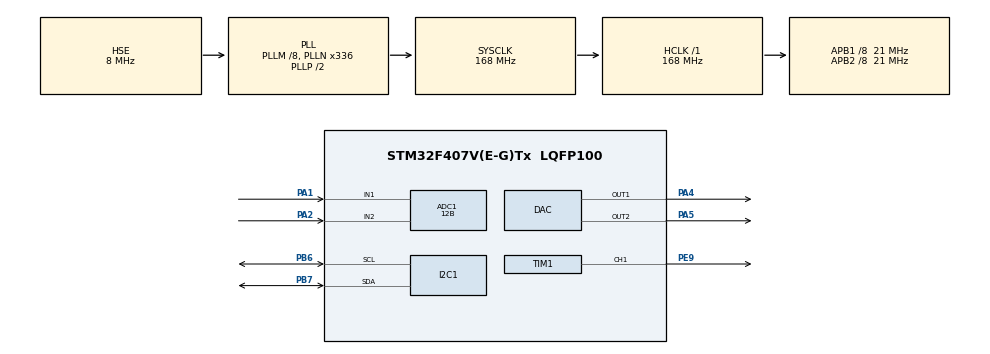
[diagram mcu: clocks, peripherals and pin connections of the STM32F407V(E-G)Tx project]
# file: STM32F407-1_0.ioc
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ADC1.Channel-0\#ChannelRegularConversion=ADC_CHANNEL_1
ADC1.Channel-1\#ChannelInjectedConversion=ADC_CHANNEL_2
ADC1.ClockPrescaler=ADC_CLOCK_SYNC_PCLK_DIV6
ADC1.ContinuousConvMode=ENABLE
ADC1.DMAContinuousRequests=DISABLE
ADC1.DataAlign=ADC_DATAALIGN_RIGHT
ADC1.DiscontinuousConvMode=DISABLE
ADC1.EOCSelection=ADC_EOC_SEQ_CONV
ADC1.EnableAnalogWatchDog=false
ADC1.ExternalTrigConv=ADC_SOFTWARE_START
ADC1.ExternalTrigConvEdge=ADC_EXTERNALTRIGCONVEDGE_NONE
ADC1.InjNumberOfConversion=1
ADC1.InjectedConvMode=AutoInjected
ADC1.InjectedOffset-1\#ChannelInjectedConversion=0
ADC1.NbrOfConversion=1
ADC1.NbrOfConversionFlag=1
ADC1.Rank-0\#ChannelRegularConversion=1
ADC1.Rank-1\#ChannelInjectedConversion=1
ADC1.Resolution=ADC_RESOLUTION_12B
ADC1.SamplingTime-0\#ChannelRegularConversion=ADC_SAMPLETIME_480CYCLES
ADC1.SamplingTime-1\#ChannelInjectedConversion=ADC_SAMPLETIME_480CYCLES
ADC1.ScanConvMode=ENABLE
ADC1.master=1
Mcu.Family=STM32F4
Mcu.Name=STM32F407V(E-G)Tx
Mcu.Package=LQFP100
NVIC.PriorityGroup=NVIC_PRIORITYGROUP_4
NVIC.TIM2_IRQn=true\:0\:0\:false\:false\:true\:true
NVIC.TIM3_IRQn=true\:0\:0\:false\:false\:true\:true
PA1.Signal=ADCx_IN1
PA2.Signal=ADCx_IN2
PA4.Signal=COMP_DAC1_group
PA5.Signal=COMP_DAC2_group
PB6.Mode=I2C
PB6.Signal=I2C1_SCL
PB7.Mode=I2C
PB7.Signal=I2C1_SDA
PE9.Signal=S_TIM1_CH1
PH0-OSC_IN.Mode=HSE-External-Oscillator
PH0-OSC_IN.Signal=RCC_OSC_IN
PH1-OSC_OUT.Mode=HSE-External-Oscillator
PH1-OSC_OUT.Signal=RCC_OSC_OUT
ProjectManager.HeapSize=0x200
ProjectManager.StackSize=0x400
ProjectManager.TargetToolchain=MDK-ARM V5
RCC.48MHZClocksFreq_Value=84000000
RCC.AHBFreq_Value=168000000
RCC.APB1CLKDivider=RCC_HCLK_DIV8
RCC.APB1Freq_Value=21000000
RCC.APB1TimFreq_Value=42000000
RCC.APB2CLKDivider=RCC_HCLK_DIV8
RCC.APB2Freq_Value=21000000
RCC.APB2TimFreq_Value=42000000
RCC.CortexFreq_Value=168000000
RCC.HCLKFreq_Value=168000000
RCC.HSE_VALUE=8000000
RCC.HSI_VALUE=16000000
RCC.LSE_VALUE=32768
RCC.PLLM=8
RCC.PLLN=336
RCC.PLLSourceVirtual=RCC_PLLSOURCE_HSE
RCC.SYSCLKFreq_VALUE=168000000
RCC.SYSCLKSource=RCC_SYSCLKSOURCE_PLLCLK
RCC.VCOOutputFreq_Value=336000000
SH.ADCx_IN1.0=ADC1_IN1,IN1
SH.ADCx_IN2.0=ADC1_IN2,IN2
SH.COMP_DAC1_group.0=DAC_OUT1,DAC_OUT1
SH.COMP_DAC2_group.0=DAC_OUT2,DAC_OUT2
SH.S_TIM1_CH1.0=TIM1_CH1,PWM Generation1 CH1
TIM1.Channel-PWM\ Generation1\ CH1=TIM_CHANNEL_1
TIM1.Period=0x2FFF
TIM1.Prescaler=0xF
TIM2.Period=0xFFFF
TIM2.Prescaler=250
TIM3.Period=0xFFFF
TIM3.Prescaler=0x4FF
VP_TIM2_VS_ClockSourceINT.Mode=Internal
VP_TIM3_VS_ClockSourceINT.Mode=Internal
board=custom

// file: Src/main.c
/**
  ******************************************************************************
  * @file           : main.c
  * @brief          : Main program body
  ******************************************************************************
  ** This notice applies to any and all portions of this file
  * that are not between comment pairs USER CODE BEGIN and
  * USER CODE END. Other portions of this file, whether
  * inserted by the user or by software development tools
  * are owned by their respective copyright owners.
  *
  * COPYRIGHT(c) 2018 STMicroelectronics
  *
  * Redistribution and use in source and binary forms, with or without modification,
  * are permitted provided that the following conditions are met:
  *   1. Redistributions of source code must retain the above copyright notice,
  *      this list of conditions and the following disclaimer.
  *   2. Redistributions in binary form must reproduce the above copyright notice,
  *      this list of conditions and the following disclaimer in the documentation
  *      and/or other materials provided with the distribution.
  *   3. Neither the name of STMicroelectronics nor the names of its contributors
  *      may be used to endorse or promote products derived from this software
  *      without specific prior written permission.
  *
  * THIS SOFTWARE IS PROVIDED BY THE COPYRIGHT HOLDERS AND CONTRIBUTORS "AS IS"
  * AND ANY EXPRESS OR IMPLIED WARRANTIES, INCLUDING, BUT NOT LIMITED TO, THE
  * IMPLIED WARRANTIES OF MERCHANTABILITY AND FITNESS FOR A PARTICULAR PURPOSE ARE
  * DISCLAIMED. IN NO EVENT SHALL THE COPYRIGHT HOLDER OR CONTRIBUTORS BE LIABLE
  * FOR ANY DIRECT, INDIRECT, INCIDENTAL, SPECIAL, EXEMPLARY, OR CONSEQUENTIAL
  * DAMAGES (INCLUDING, BUT NOT LIMITED TO, PROCUREMENT OF SUBSTITUTE GOODS OR
  * SERVICES; LOSS OF USE, DATA, OR PROFITS; OR BUSINESS INTERRUPTION) HOWEVER
  * CAUSED AND ON ANY THEORY OF LIABILITY, WHETHER IN CONTRACT, STRICT LIABILITY,
  * OR TORT (INCLUDING NEGLIGENCE OR OTHERWISE) ARISING IN ANY WAY OUT OF THE USE
  * OF THIS SOFTWARE, EVEN IF ADVISED OF THE POSSIBILITY OF SUCH DAMAGE.
  *
  ******************************************************************************
  */
#include "main.h"
#include "stm32f4xx_hal.h"
//#include "stm32f4xx_hal_iwdg.h"
#include "MPU6050.h"
#include "math.h"

//IWDG_HandleTypeDef hiwdg;
ADC_HandleTypeDef hadc1;

DAC_HandleTypeDef hdac;

I2C_HandleTypeDef hi2c1;

TIM_HandleTypeDef htim1;
TIM_HandleTypeDef htim2;
TIM_HandleTypeDef htim3;

/* USER CODE BEGIN PV */
/* Private variables ---------------------------------------------------------*/

/* USER CODE END PV */

void SystemClock_Config(void);
static void MX_GPIO_Init(void);
static void MX_ADC1_Init(void);
static void MX_DAC_Init(void);
static void MX_I2C1_Init(void);
static void MX_TIM1_Init(void);
static void MX_TIM3_Init(void);
static void MX_TIM2_Init(void);
//static void MX_IWDG_Init(void);
void HAL_TIM_MspPostInit(TIM_HandleTypeDef *htim);

/* USER CODE BEGIN PFP */
/* Private function prototypes -----------------------------------------------*/

/* USER CODE END PFP */

/* USER CODE BEGIN 0 */
/*
Constants
*/
#define M_PI	3.16159265358979323846
#define T_SEC	122880000
#define SCS_SignalPeriod 0x2FF

#define SCS_BaseVoltage	0x935//0x9FC // V = 2.06
#define SCS_InitialVoltage	0xD00//0xCEE//((0xcc5)0xC1E) // V = 2.66
#define SCS_UpperlVoltage	0xFFF // V = 3.27
#define SCS_VoltageRange	0x5DD // V = 1.21
#define SCS_VoltageAmplitude	0x2F4 // V = 0.60

/*
Controls
*/
#define SCS_Sensor_isEnable	0x1
#define SCS_Joystick_isEnable	0x2
#define SCS_Settings_isEnable	0x3
#define SCS_DisableAll	0x4

/*
Sensitivity
*/
#define SCS_MaximumAngleSensitivity_Low	40
#define SCS_MaximumAngleSensitivity_Normal	30
#define SCS_MaximumAngleSensitivity_Hight	20

#define SCS_SaveAngleSensitivity	5

/*
Sensitivity settings
*/
#define SCS_GyroscopeValueForSensitivityStep_Y	30

/*
Interrupt
*/
#define SCS_AccelerometerLimit	1.2
#define SCS_ADCVoltageDelta	0.3 //0.3

struct GyroscopeValueXYZ
{
	float xGValue;
	float yGValue;
	float zGValue;
};

struct AngleOfRotationXYZAxis
{
	float xAngle;
	float yAngle;
	float zAngle;
};

struct AngleOfRotationXYZAxis xyzStartAngles = {0,0,0};
int maximumAngleSensitivity = 30;
int controlFlag = SCS_Sensor_isEnable;

/*
	Управление с помощью датчика
*/
void sensorControl();
/*
	Получение угла наклона датчика
	@bref вторичный катет - проекция на ось, угол между которой и вектором ускрения(g) является искомым;
				первичные катеты - проекции на остальные две оси.
	@param secondaryCatheter вторичный катет, который учавствует в поиске угла наклона межд
	@param primaryCatheter_1 первичный катет, который учавствует в поиске гипотенузы,
													 которая является вторичним катетом в последующем поиске угла наклона
	@param primaryCatheter_2 первичный катет, который учавствует в поиске гипотенузы,
													 которая является вторичним катетом в последующем поиске угла наклона
	@return угол наклона
*/
float angleFromProjections(float secondaryCatheter, float primaryCatheter_1, float primaryCatheter_2);
/*
	Получить текущие углы наклона датика с начальным смещением
	@return AngleOfRotationXYZAxis текущие углы наклона с начальным смещением
*/
struct AngleOfRotationXYZAxis obtainCurrentAngleOfRotationWithStartAngle();
/*
	Передача сигнала через ЦАП для движения в сторону
	@param dacValue значение для вывода
*/
void sidewaysDACWithDACValue(int dacValue);
/*
	Передача сигнала через ЦАП для движения прямо
	@param dacValue значение для вывода
*/
void straightDACWithDACValue(int dacValue);
/*
	Передача данных в ЦАП для движение вперед
	@param currentAngel текущий угол в градусах
*/
void straightMotionDACWithCurrentAngel(float currentAngel);
/*
	Передача данных в ЦАП для движение в сторону
	@param currentAngel текущий угол в градусах
*/
void sidewaysMotionDACWithCurrentAngel(float currentAngel);
/*
	Конвертация градусов текущего угла в даные для ЦАП
	@param currentAngel текущий угол в градусах
	@return значение для ЦАП, нормированное на полную шкалу ЦАП 3,3В (0xFFF)
*/
int convertAngelToDACValue(float currentAngel);
/*
	Получить текущие углы наклона датика
	@return AngleOfRotationXYZAxis текущие углы наклона
*/
struct AngleOfRotationXYZAxis obtainCurrentAngleOfRotation();
/*
	Получить углы начального смещения датика
	@return AngleOfRotationXYZAxis начальные углы наклона
*/
struct AngleOfRotationXYZAxis createStartAngleOfRotation();
/*
	Получить текущие значение напряжения в вольтах с джойстика для движения вперед
	@return текущие напряжение в вольтах
*/
float straightMotionVoltageADC();
/*
	Получить текущие значение напряжения в вольтах с джойстика для движения в сторону
	@return текущие напряжение в вольтах
*/
float sidewaysMotionVoltageADC();

/*
	Запустить таймер
*/
void startTimer();
/*
	Остановить таймер
*/
void stopTimer();
/*
	Поизвести звуковые сигналы заданное количество раз
	@param numberOfSignals заданное количество сигналов
*/
void signalsWithNumberOfSignals(int numberOfSignals);
/*
	Осуществляет синхронную задержку
*/
void synchronousDelay();
/*
	Вывод звкука
	@param signalPeriod период сигнала
*/
void speakerWithSignalPeriod(float signalPeriod);
/*
	Получить текущие проекции ускорения(a) на оси
	@return GyroscopeValueXYZ текущие проекции ускорения(a)
*/
struct GyroscopeValueXYZ obtainCurrentGyroscopeValue();
/*
	Конвертация градусов текущего угла в период сигнала для динамика
	@param currentAngel текущий угол в градусах
	@return период сигнала
*/
float convertCurrentXAngelToSignalPeriod(float currentXAngel);
/*
Управление с помощью джойстика
*/
void joystickControl();
/*
	Настройки чувствительности датчика
*/
void sensitivitySetting();
/*
	Отслеижвание выхода текущего значения угла за допустимые границы
	@param currentAngel_X текущее значение угла
	@param currentAngel_Y текущее значение угла
*/
void emergencyTrackingWithCurrentAngels(float currentAngel_X, float currentAngel_Z);

float (*straightMotionVoltageADCPointer)() = &straightMotionVoltageADC;
float (*sidewaysMotionVoltageADCPointer)() = &sidewaysMotionVoltageADC;

void (*signalsWithNumberOfSignalsPointer)(int) = signalsWithNumberOfSignals;

#define mpu9265Address	MPU6050_DEFAULT_ADDRESS
/* USER CODE END 0 */

int main(void)
{

  /* MCU Configuration----------------------------------------------------------*/

  /* Reset of all peripherals, Initializes the Flash interface and the Systick. */
  HAL_Init();

  /* Configure the system clock */
  SystemClock_Config();

  /* Initialize all configured peripherals */
  MX_GPIO_Init();
  MX_ADC1_Init();
  MX_DAC_Init();
  MX_I2C1_Init();
  MX_TIM1_Init();
  MX_TIM3_Init();
  MX_TIM2_Init();
//	MX_IWDG_Init();
  /* USER CODE BEGIN 2 */

//	for(uint8_t i=0; i<255; i++)
//	{
//		if(HAL_I2C_IsDeviceReady(&hi2c1, i, 1, 10) != HAL_OK)
//		{
//			HAL_GPIO_TogglePin(GPIOB, GPIO_PIN_6);
//			break;
//		}
//	}
	while (HAL_I2C_IsDeviceReady(&hi2c1, mpu9265Address, 5, 10) != HAL_OK) __asm__ ("NOP");
	Initialize();
	xyzStartAngles = createStartAngleOfRotation();
	HAL_ADC_Start(&hadc1);
	HAL_DAC_Start(&hdac,DAC_CHANNEL_1);
	HAL_DAC_Start(&hdac,DAC_CHANNEL_2);
//	HAL_TIM_Base_Start_IT(&htim2);
//	HAL_TIM_Base_Start_IT(&htim3);
  /* USER CODE END 2 */

  /* Infinite loop */
  /* USER CODE BEGIN WHILE */
	while((2 > straightMotionVoltageADC())
				|| (2 > sidewaysMotionVoltageADC())){}
	for (int i = 0; i < 100000; i++){}
	straightDACWithDACValue(hadc1.Instance->DR);
	sidewaysDACWithDACValue(hadc1.Instance->JDR1);
//	straightDACWithDACValue(SCS_InitialVoltage);
//	sidewaysDACWithDACValue(SCS_InitialVoltage);

//	for (int i = 0; i < 100000; i++){}
//	for (int i = 0; i < 100000; i++){}
	HAL_Delay(2000);
	xyzStartAngles = createStartAngleOfRotation();
	HAL_TIM_Base_Start_IT(&htim2);
	signalsWithNumberOfSignals(1);
  while (1)
  {
//		HAL_IWDG_Refresh(&hiwdg);
		if (SCS_Joystick_isEnable == controlFlag)
		{
//			synchronousDelay();
			signalsWithNumberOfSignals(2);
//			HAL_TIM_Base_Sta_IT(&htim2);
			HAL_TIM_Base_Stop_IT(&htim2);
			joystickControl();
		}
		if (SCS_Sensor_isEnable == controlFlag)
		{
//			synchronousDelay();
			HAL_TIM_Base_Start_IT(&htim2);
			signalsWithNumberOfSignals(3);
			sensorControl();
		}
		if (SCS_DisableAll == controlFlag)
		{
			straightDACWithDACValue(SCS_InitialVoltage);
			sidewaysDACWithDACValue(SCS_InitialVoltage);
			startTimer();
			speakerWithSignalPeriod(SCS_SignalPeriod);
			while (SCS_DisableAll == controlFlag);
		}
  /* USER CODE END WHILE */

  }

}

void joystickControl()
{
	while(SCS_Joystick_isEnable == controlFlag)
	{
//		HAL_IWDG_Refresh(&hiwdg);
		if (obtainCurrentGyroscopeValue().yGValue > SCS_AccelerometerLimit)
		{
			controlFlag = SCS_Sensor_isEnable;
		}
		straightDACWithDACValue(hadc1.Instance->DR);
		sidewaysDACWithDACValue(hadc1.Instance->JDR1);
	}
}

void sensorControl()
{
	struct AngleOfRotationXYZAxis xyzCurrentAnglesWithStartAngles = {0,0,0};
	while(SCS_Sensor_isEnable == controlFlag)
	{
//		HAL_IWDG_Refresh(&hiwdg);
		if (obtainCurrentGyroscopeValue().yGValue > SCS_AccelerometerLimit)
		{
//			synchronousDelay();
			signalsWithNumberOfSignals(4);

			controlFlag = SCS_Settings_isEnable;
			sensitivitySetting();
		}
		xyzCurrentAnglesWithStartAngles = obtainCurrentAngleOfRotationWithStartAngle();
		straightMotionDACWithCurrentAngel(xyzCurrentAnglesWithStartAngles.xAngle);
		sidewaysMotionDACWithCurrentAngel(xyzCurrentAnglesWithStartAngles.zAngle);
		emergencyTrackingWithCurrentAngels(xyzCurrentAnglesWithStartAngles.xAngle, xyzCurrentAnglesWithStartAngles.zAngle);
//		enableTimerInterruptIfNeeded(htim2);
	}
}

//void sensorControl()
//{
//	struct AngleOfRotationXYZAxis xyzCurrentAnglesWithStartAngles = {0,0,0};
//	xyzCurrentAnglesWithStartAngles = obtainCurrentAngleOfRotationWithStartAngle();
//	straightMotionDACWithCurrentAngel(xyzCurrentAnglesWithStartAngles.xAngle);
//	sidewaysMotionDACWithCurrentAngel(xyzCurrentAnglesWithStartAngles.zAngle);
//}

void sensitivitySetting()
{
	startTimer();
	while(SCS_Settings_isEnable == controlFlag)
	{
		float xAngle = obtainCurrentAngleOfRotationWithStartAngle().xAngle;
		speakerWithSignalPeriod(convertCurrentXAngelToSignalPeriod(xAngle));
		if (xAngle > SCS_GyroscopeValueForSensitivityStep_Y)
		{
			maximumAngleSensitivity = SCS_MaximumAngleSensitivity_Hight;
		}
		else if (xAngle > - SCS_GyroscopeValueForSensitivityStep_Y)
		{
			maximumAngleSensitivity = SCS_MaximumAngleSensitivity_Normal;
		}
		else
		{
			maximumAngleSensitivity = SCS_MaximumAngleSensitivity_Low;
		}

		if (obtainCurrentGyroscopeValue().yGValue > SCS_AccelerometerLimit)
		{
			stopTimer();
			signalsWithNumberOfSignals(5);

			controlFlag = SCS_Sensor_isEnable;
		}
	}
}

void emergencyTrackingWithCurrentAngels(float currentAngel_X, float currentAngel_Z)
{
	float maximumCurrentAngel = fmax(fabsf(currentAngel_X), fabsf(currentAngel_Z));
	if (maximumCurrentAngel > maximumAngleSensitivity * 1.5)
	{
		signalsWithNumberOfSignals(1);
		TIM3->SR = 0x0;
		HAL_TIM_Base_Start_IT(&htim3);
	}
	else
	{
		HAL_TIM_Base_Stop_IT(&htim3);
		htim3.Instance->CNT = 0;
	}
}

float convertCurrentXAngelToSignalPeriod(float currentXAngel)
{
		int fullScale = 0x2FFF;
		float signalPeriod = fullScale / 4 * (3 - currentXAngel / SCS_MaximumAngleSensitivity_Low);

		if (signalPeriod >= fullScale)
		{
			return fullScale;
		}
		if (signalPeriod <= fullScale / 2)
		{
			return fullScale / 2;
		}
		return signalPeriod;
}

void signalsWithNumberOfSignals(int numberOfSignals)
{
	for(int currentSignalNumber = 0; currentSignalNumber < numberOfSignals; ++currentSignalNumber)
	{
		startTimer();
		speakerWithSignalPeriod(SCS_SignalPeriod);
		synchronousDelay();

		stopTimer();
		synchronousDelay();
	}
}

struct GyroscopeValueXYZ obtainCurrentGyroscopeValue()
{
	MPU6050_GYROResult gyroscopeXYZValue = {0,0,0,0};
	HAL_StatusTypeDef status = HAL_ERROR;

	status = GetRawGyro(&gyroscopeXYZValue);
//	while(HAL_BUSY == status){};
	struct GyroscopeValueXYZ gValueXYZ = {0,0,0};
	gValueXYZ.xGValue = gyroscopeXYZValue.Gyroscope_X / 16384.0;
	gValueXYZ.yGValue = gyroscopeXYZValue.Gyroscope_Y / 16384.0;
	gValueXYZ.zGValue = gyroscopeXYZValue.Gyroscope_Z / 16384.0;

	return gValueXYZ;
}

struct AngleOfRotationXYZAxis createStartAngleOfRotation()
{
	return obtainCurrentAngleOfRotation();
}

struct AngleOfRotationXYZAxis obtainCurrentAngleOfRotationWithStartAngle()
{
	struct AngleOfRotationXYZAxis xyzAngles = {0,0,0};

	xyzAngles.xAngle = obtainCurrentAngleOfRotation().xAngle - xyzStartAngles.xAngle;
	xyzAngles.yAngle = obtainCurrentAngleOfRotation().yAngle - xyzStartAngles.yAngle;
	xyzAngles.zAngle = obtainCurrentAngleOfRotation().zAngle - xyzStartAngles.zAngle;

	return xyzAngles;
}

struct AngleOfRotationXYZAxis obtainCurrentAngleOfRotation()
{
	MPU6050_ACCResult accelerometrXYZValue = {0,0,0,0};
	HAL_StatusTypeDef status = HAL_ERROR;

	status = GetRawAcc(&accelerometrXYZValue);
//	while(HAL_BUSY == status){};

	float ax = (accelerometrXYZValue.Accelerometr_X / 16384.00); //- 0.09326169;
	float ay = (accelerometrXYZValue.Accelerometr_Y / 16384.0);
	float az = (accelerometrXYZValue.Accelerometr_Z / 16384.0); //- 0.01269531;

	struct AngleOfRotationXYZAxis xyzAngles = {0,0,0};
	xyzAngles.xAngle = angleFromProjections(ax, ay, az);
	xyzAngles.yAngle = angleFromProjections(ay, az, ax);
	xyzAngles.zAngle = angleFromProjections(az, ax, ay);

	return xyzAngles;
}

//float currentADCValueWithHandleType(ADC_HandleTypeDef handleTypeADC)
//{
//	HAL_ADC_Start(&handleTypeADC);
//	float currentADCValue = 0.0;
//	if (HAL_ADC_PollForConversion(&handleTypeADC, 100) == HAL_OK)
//	{
//		currentADCValue = (float)HAL_ADC_GetValue(&handleTypeADC);
//	}
//	HAL_ADC_Stop(&handleTypeADC);
//	return currentADCValue;
//}

void straightMotionDACWithCurrentAngel(float currentAngel)
{
	int dacValue = convertAngelToDACValue(currentAngel);
	straightDACWithDACValue(dacValue);
}

void sidewaysMotionDACWithCurrentAngel(float currentAngel)
{
	int dacValue = convertAngelToDACValue(currentAngel);
	sidewaysDACWithDACValue(dacValue);
}

void straightDACWithDACValue(int dacValue)
{
	DAC->DHR12R1 = dacValue;
	DAC->SWTRIGR|=1;
}

void sidewaysDACWithDACValue(int dacValue)
{
	DAC->DHR12R2= dacValue;
	DAC->SWTRIGR|=2;
}

float angleFromProjections(float secondaryCatheter, float primaryCatheter_1, float primaryCatheter_2)
{
	float hypotenuse = sqrt(pow(primaryCatheter_1, 2) + pow(primaryCatheter_2, 2));
	return (atan2(secondaryCatheter, hypotenuse) * 180 / M_PI) - 90;
}

int convertAngelToDACValue(float currentAngel)
{
	if (currentAngel >= maximumAngleSensitivity)
	{
		return SCS_BaseVoltage;
	}
	else if (currentAngel <= - maximumAngleSensitivity)
	{
		return SCS_UpperlVoltage;
	}
	else
	{
		return SCS_InitialVoltage;
	}
}

float straightMotionVoltageADC()
{
	float currentADCValue = hadc1.Instance->DR;
	return (currentADCValue) * 3.3 / 4096;
}

float sidewaysMotionVoltageADC()
{
	float currentADCValue = hadc1.Instance->JDR1;
	return (currentADCValue) * 3.3 / 4096;
}

void startTimer()
{
	HAL_TIM_PWM_Start(&htim1, TIM_CHANNEL_1);
}

void stopTimer()
{
	HAL_TIM_PWM_Stop(&htim1, TIM_CHANNEL_1);
}

void synchronousDelay()
{
	for(int i = 0; i < T_SEC / 10; ++i){}
}

void speakerWithSignalPeriod(float signalPeriod)
{
		TIM1->ARR = signalPeriod;
		TIM1->CCR1 = signalPeriod / 2;
}

void SystemClock_Config(void)
{

  RCC_OscInitTypeDef RCC_OscInitStruct;
  RCC_ClkInitTypeDef RCC_ClkInitStruct;

    /**Configure the main internal regulator output voltage
    */
  __HAL_RCC_PWR_CLK_ENABLE();

  __HAL_PWR_VOLTAGESCALING_CONFIG(PWR_REGULATOR_VOLTAGE_SCALE1);

    /**Initializes the CPU, AHB and APB busses clocks
    */
  RCC_OscInitStruct.OscillatorType = RCC_OSCILLATORTYPE_HSE;
  RCC_OscInitStruct.HSEState = RCC_HSE_ON;
  RCC_OscInitStruct.PLL.PLLState = RCC_PLL_ON;
  RCC_OscInitStruct.PLL.PLLSource = RCC_PLLSOURCE_HSE;
  RCC_OscInitStruct.PLL.PLLM = 8;
  RCC_OscInitStruct.PLL.PLLN = 336;
  RCC_OscInitStruct.PLL.PLLP = RCC_PLLP_DIV2;
  RCC_OscInitStruct.PLL.PLLQ = 4;
  if (HAL_RCC_OscConfig(&RCC_OscInitStruct) != HAL_OK)
  {
    _Error_Handler(__FILE__, __LINE__);
  }

    /**Initializes the CPU, AHB and APB busses clocks
    */
  RCC_ClkInitStruct.ClockType = RCC_CLOCKTYPE_HCLK|RCC_CLOCKTYPE_SYSCLK
                              |RCC_CLOCKTYPE_PCLK1|RCC_CLOCKTYPE_PCLK2;
  RCC_ClkInitStruct.SYSCLKSource = RCC_SYSCLKSOURCE_PLLCLK;
  RCC_ClkInitStruct.AHBCLKDivider = RCC_SYSCLK_DIV1;
  RCC_ClkInitStruct.APB1CLKDivider = RCC_HCLK_DIV8;
  RCC_ClkInitStruct.APB2CLKDivider = RCC_HCLK_DIV8;

  if (HAL_RCC_ClockConfig(&RCC_ClkInitStruct, FLASH_LATENCY_5) != HAL_OK)
  {
    _Error_Handler(__FILE__, __LINE__);
  }

    /**Configure the Systick interrupt time
    */
  HAL_SYSTICK_Config(HAL_RCC_GetHCLKFreq()/1000);

    /**Configure the Systick
    */
  HAL_SYSTICK_CLKSourceConfig(SYSTICK_CLKSOURCE_HCLK);

  /* SysTick_IRQn interrupt configuration */
  HAL_NVIC_SetPriority(SysTick_IRQn, 0, 0);
}

//static void MX_IWDG_Init(void)
//{

//  hiwdg.Instance = IWDG;
//  hiwdg.Init.Prescaler = IWDG_PRESCALER_4;
//  hiwdg.Init.Reload = 512;
//  if (HAL_IWDG_Init(&hiwdg) != HAL_OK)
//  {
//    _Error_Handler(__FILE__, __LINE__);
//  }

//}

/* ADC1 init function */
static void MX_ADC1_Init(void)
{

  ADC_ChannelConfTypeDef sConfig;
  ADC_InjectionConfTypeDef sConfigInjected;

    /**Configure the global features of the ADC (Clock, Resolution, Data Alignment and number of conversion)
    */
  hadc1.Instance = ADC1;
  hadc1.Init.ClockPrescaler = ADC_CLOCK_SYNC_PCLK_DIV6;
  hadc1.Init.Resolution = ADC_RESOLUTION_12B;
  hadc1.Init.ScanConvMode = ENABLE;
  hadc1.Init.ContinuousConvMode = ENABLE;
  hadc1.Init.DiscontinuousConvMode = DISABLE;
  hadc1.Init.ExternalTrigConvEdge = ADC_EXTERNALTRIGCONVEDGE_NONE;
  hadc1.Init.ExternalTrigConv = ADC_SOFTWARE_START;
  hadc1.Init.DataAlign = ADC_DATAALIGN_RIGHT;
  hadc1.Init.NbrOfConversion = 1;
  hadc1.Init.DMAContinuousRequests = DISABLE;
  hadc1.Init.EOCSelection = ADC_EOC_SEQ_CONV;
  if (HAL_ADC_Init(&hadc1) != HAL_OK)
  {
    _Error_Handler(__FILE__, __LINE__);
  }

    /**Configure for the selected ADC regular channel its corresponding rank in the sequencer and its sample time.
    */
  sConfig.Channel = ADC_CHANNEL_1;
  sConfig.Rank = 1;
  sConfig.SamplingTime = ADC_SAMPLETIME_480CYCLES;
  if (HAL_ADC_ConfigChannel(&hadc1, &sConfig) != HAL_OK)
  {
    _Error_Handler(__FILE__, __LINE__);
  }

    /**Configures for the selected ADC injected channel its corresponding rank in the sequencer and its sample time
    */
  sConfigInjected.InjectedChannel = ADC_CHANNEL_2;
  sConfigInjected.InjectedRank = 1;
  sConfigInjected.InjectedNbrOfConversion = 1;
  sConfigInjected.InjectedSamplingTime = ADC_SAMPLETIME_480CYCLES;
  sConfigInjected.ExternalTrigInjecConvEdge = ADC_EXTERNALTRIGINJECCONVEDGE_NONE;
  sConfigInjected.ExternalTrigInjecConv = ADC_INJECTED_SOFTWARE_START;
  sConfigInjected.AutoInjectedConv = ENABLE;
  sConfigInjected.InjectedDiscontinuousConvMode = DISABLE;
  sConfigInjected.InjectedOffset = 0;
  if (HAL_ADCEx_InjectedConfigChannel(&hadc1, &sConfigInjected) != HAL_OK)
  {
    _Error_Handler(__FILE__, __LINE__);
  }

}

/* DAC init function */
static void MX_DAC_Init(void)
{

  DAC_ChannelConfTypeDef sConfig;

    /**DAC Initialization
    */
  hdac.Instance = DAC;
  if (HAL_DAC_Init(&hdac) != HAL_OK)
  {
    _Error_Handler(__FILE__, __LINE__);
  }

    /**DAC channel OUT1 config
    */
  sConfig.DAC_Trigger = DAC_TRIGGER_NONE;
  sConfig.DAC_OutputBuffer = DAC_OUTPUTBUFFER_ENABLE;
  if (HAL_DAC_ConfigChannel(&hdac, &sConfig, DAC_CHANNEL_1) != HAL_OK)
  {
    _Error_Handler(__FILE__, __LINE__);
  }

    /**DAC channel OUT2 config
    */
  if (HAL_DAC_ConfigChannel(&hdac, &sConfig, DAC_CHANNEL_2) != HAL_OK)
  {
    _Error_Handler(__FILE__, __LINE__);
  }

}

/* I2C1 init function */
static void MX_I2C1_Init(void)
{

  hi2c1.Instance = I2C1;
  hi2c1.Init.ClockSpeed = 100000;
  hi2c1.Init.DutyCycle = I2C_DUTYCYCLE_2;
  hi2c1.Init.OwnAddress1 = 0;
  hi2c1.Init.AddressingMode = I2C_ADDRESSINGMODE_7BIT;
  hi2c1.Init.DualAddressMode = I2C_DUALADDRESS_DISABLE;
  hi2c1.Init.OwnAddress2 = 0;
  hi2c1.Init.GeneralCallMode = I2C_GENERALCALL_DISABLE;
  hi2c1.Init.NoStretchMode = I2C_NOSTRETCH_DISABLE;
  if (HAL_I2C_Init(&hi2c1) != HAL_OK)
  {
    _Error_Handler(__FILE__, __LINE__);
  }

}

/* TIM1 init function */
//static void MX_TIM1_Init(void)
//{

//  TIM_MasterConfigTypeDef sMasterConfig;
//  TIM_OC_InitTypeDef sConfigOC;
//  TIM_BreakDeadTimeConfigTypeDef sBreakDeadTimeConfig;

//  htim1.Instance = TIM1;
//  htim1.Init.Prescaler = 0xF;
//  htim1.Init.CounterMode = TIM_COUNTERMODE_UP;
//  htim1.Init.Period = 0x2FFF;
//  htim1.Init.ClockDivision = TIM_CLOCKDIVISION_DIV1;
//  htim1.Init.RepetitionCounter = 0;
//  if (HAL_TIM_PWM_Init(&htim1) != HAL_OK)
//  {
//    _Error_Handler(__FILE__, __LINE__);
//  }

//  sMasterConfig.MasterOutputTrigger = TIM_TRGO_RESET;
//  sMasterConfig.MasterSlaveMode = TIM_MASTERSLAVEMODE_DISABLE;
//  if (HAL_TIMEx_MasterConfigSynchronization(&htim1, &sMasterConfig) != HAL_OK)
//  {
//    _Error_Handler(__FILE__, __LINE__);
//  }

//  sConfigOC.OCMode = TIM_OCMODE_PWM1;
//  sConfigOC.Pulse = 0;
//  sConfigOC.OCPolarity = TIM_OCPOLARITY_HIGH;
//  sConfigOC.OCNPolarity = TIM_OCNPOLARITY_HIGH;
//  sConfigOC.OCFastMode = TIM_OCFAST_DISABLE;
//  sConfigOC.OCIdleState = TIM_OCIDLESTATE_RESET;
//  sConfigOC.OCNIdleState = TIM_OCNIDLESTATE_RESET;
//  if (HAL_TIM_PWM_ConfigChannel(&htim1, &sConfigOC, TIM_CHANNEL_1) != HAL_OK)
//  {
//    _Error_Handler(__FILE__, __LINE__);
//  }

//  sBreakDeadTimeConfig.OffStateRunMode = TIM_OSSR_DISABLE;
//  sBreakDeadTimeConfig.OffStateIDLEMode = TIM_OSSI_DISABLE;
//  sBreakDeadTimeConfig.LockLevel = TIM_LOCKLEVEL_OFF;
//  sBreakDeadTimeConfig.DeadTime = 0;
//  sBreakDeadTimeConfig.BreakState = TIM_BREAK_DISABLE;
//  sBreakDeadTimeConfig.BreakPolarity = TIM_BREAKPOLARITY_HIGH;
//  sBreakDeadTimeConfig.AutomaticOutput = TIM_AUTOMATICOUTPUT_DISABLE;
//  if (HAL_TIMEx_ConfigBreakDeadTime(&htim1, &sBreakDeadTimeConfig) != HAL_OK)
//  {
//    _Error_Handler(__FILE__, __LINE__);
//  }

//  HAL_TIM_MspPostInit(&htim1);

//}

static void MX_TIM1_Init(void)
{

	__HAL_RCC_TIM1_CLK_ENABLE();
	HAL_TIM_PWM_MspInit(&htim1);
	htim1.Instance = TIM1;
	htim1.Init.CounterMode = TIM_COUNTERMODE_UP;
	htim1.Init.Prescaler = 0xF;
	htim1.Init.Period = 0xFFF;
	htim1.Init.ClockDivision = TIM_CLOCKDIVISION_DIV1;
	HAL_TIM_PWM_Init(&htim1);
	TIM_OC_InitTypeDef pwm;
	pwm.OCMode = TIM_OCMODE_PWM2;
	pwm.Pulse = 0;
	pwm.OCPolarity = TIM_OCPOLARITY_HIGH;
	pwm.OCFastMode = TIM_OCFAST_DISABLE;
	HAL_TIM_PWM_ConfigChannel(&htim1, &pwm, TIM_CHANNEL_1);
}

/* TIM2 init function */
static void MX_TIM2_Init(void)
{

  TIM_ClockConfigTypeDef sClockSourceConfig;
  TIM_MasterConfigTypeDef sMasterConfig;

  htim2.Instance = TIM2;
  htim2.Init.Prescaler = 250;
  htim2.Init.CounterMode = TIM_COUNTERMODE_UP;
  htim2.Init.Period = 0xFFFF;
  htim2.Init.ClockDivision = TIM_CLOCKDIVISION_DIV1;
  if (HAL_TIM_Base_Init(&htim2) != HAL_OK)
  {
    _Error_Handler(__FILE__, __LINE__);
  }

  sClockSourceConfig.ClockSource = TIM_CLOCKSOURCE_INTERNAL;
  if (HAL_TIM_ConfigClockSource(&htim2, &sClockSourceConfig) != HAL_OK)
  {
    _Error_Handler(__FILE__, __LINE__);
  }

  sMasterConfig.MasterOutputTrigger = TIM_TRGO_UPDATE;
  sMasterConfig.MasterSlaveMode = TIM_MASTERSLAVEMODE_DISABLE;
  if (HAL_TIMEx_MasterConfigSynchronization(&htim2, &sMasterConfig) != HAL_OK)
  {
    _Error_Handler(__FILE__, __LINE__);
  }

}

/* TIM3 init function */
static void MX_TIM3_Init(void)
{

  TIM_ClockConfigTypeDef sClockSourceConfig;
  TIM_MasterConfigTypeDef sMasterConfig;

  htim3.Instance = TIM3;
  htim3.Init.Prescaler = 0x4FF;
  htim3.Init.CounterMode = TIM_COUNTERMODE_UP;
  htim3.Init.Period = 0xFFFF;
  htim3.Init.ClockDivision = TIM_CLOCKDIVISION_DIV1;
  if (HAL_TIM_Base_Init(&htim3) != HAL_OK)
  {
    _Error_Handler(__FILE__, __LINE__);
  }

  sClockSourceConfig.ClockSource = TIM_CLOCKSOURCE_INTERNAL;
  if (HAL_TIM_ConfigClockSource(&htim3, &sClockSourceConfig) != HAL_OK)
  {
    _Error_Handler(__FILE__, __LINE__);
  }

  sMasterConfig.MasterOutputTrigger = TIM_TRGO_UPDATE;
  sMasterConfig.MasterSlaveMode = TIM_MASTERSLAVEMODE_DISABLE;
  if (HAL_TIMEx_MasterConfigSynchronization(&htim3, &sMasterConfig) != HAL_OK)
  {
    _Error_Handler(__FILE__, __LINE__);
  }

}

/** Configure pins as
        * Analog
        * Input
        * Output
        * EVENT_OUT
        * EXTI
*/
static void MX_GPIO_Init(void)
{

  /* GPIO Ports Clock Enable */
  __HAL_RCC_GPIOH_CLK_ENABLE();
  __HAL_RCC_GPIOA_CLK_ENABLE();
  __HAL_RCC_GPIOE_CLK_ENABLE();
  __HAL_RCC_GPIOB_CLK_ENABLE();

	GPIO_InitTypeDef GPIO_InitStruct;
	GPIO_InitStruct.Pin = GPIO_PIN_9;
	GPIO_InitStruct.Mode = GPIO_MODE_AF_PP;
	GPIO_InitStruct.Pull = GPIO_PULLDOWN;
	GPIO_InitStruct.Speed = GPIO_SPEED_FREQ_HIGH;
	GPIO_InitStruct.Alternate = GPIO_AF1_TIM1;
	HAL_GPIO_Init(GPIOE, &GPIO_InitStruct);

}

void _Error_Handler(char *file, int line)
{
  while(1)
  {
  }
}

/************************ (C) COPYRIGHT STMicroelectronics *****END OF FILE****/
